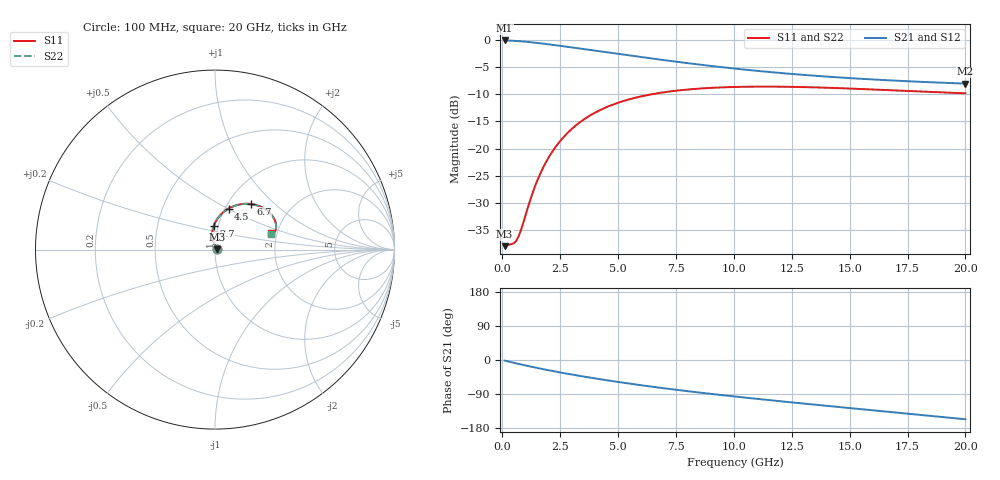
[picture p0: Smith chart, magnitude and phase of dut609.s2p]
! Touchstone file exported from HFSS 2024.1.0
!  File:  C:/UserFiles/LocalFiles/RDL_TSV_Batchsim/temp_RDL_TSV_609_1779798962.aedt
!  Generated:  08:50:09 PM May 26, 2026
!  Design:  RDL_TSV
!  Project:  temp_RDL_TSV_609_1779798962
!  Setup:  Setup1
!  Solution:  Sweep
! Variables:
!  dtsv = 9.98um
!  hbump = 3um
!  htsv = 67.63um
!  ldown = 509.19um
!  lrdl = 158.78um
!  p = 40
!  p1 = 57.86um
!  rhole = 10um
!  subl = 2162.69um
!  t = 450um
!  tdown = 3.62um
!  trdl = 2.95um
!  viad = 10um
!  wdown = 17.82um
!  wrdl = 21.84um
!  xbump = 18um
# GHz S MA R 50.000000
! Terminal data exported
! Port[1] = TM1_1_T1
! Port[2] = TM1_4_T1
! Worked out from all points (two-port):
!   200 points, 100 MHz to 20 GHz, reference 50 ohm
!   highest |S21| = -0.11 dB at 100 MHz (marker M1); lowest = -8.0 dB at 20 GHz (marker M2)
!   |S21| within 3 dB of the highest: start of sweep to 5.913 GHz
!   lowest |S11| = -37.9 dB at 100 MHz (marker M3), VSWR 1.03, Z = 51.3 + j0.207 ohm
!   |S11| at or under -10 dB: start of sweep to 6.452 GHz
!   |S22| runs from -37.9 to -8.6 dB; largest |S21 - S12| = 1.9e-14
!   S11 on the Smith chart (normalised r, x): 100 MHz: 1.03, +0.00; 2.7 GHz: 0.95, +0.25; 4.5 GHz: 1.04, +0.50; 6.7 GHz: 1.27, +0.72; 20 GHz: 1.85, +0.38
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0.1  0.01272 9.1  0.987 -1.5  0.987 -1.5  0.01272 9.1
! Gamma 0 0 0 0
! Port Impedance 50 0 50 0
0.5  0.01354 44.7  0.9794 -7.4  0.9794 -7.4  0.01355 44.6
0.6  0.01421 55.8  0.9765 -8.8  0.9765 -8.8  0.01422 55.7
0.7  0.01555 67.0  0.9732 -10.2  0.9732 -10.2  0.01554 66.9
0.8  0.01769 77.1  0.9696 -11.6  0.9696 -11.6  0.01767 77.0
1.3  0.03867 101.0  0.9474 -18.3  0.9474 -18.3  0.03858 100.9
1.5  0.05021 102.9  0.9371 -20.9  0.9371 -20.9  0.05008 102.8
1.7  0.06277 102.8  0.9263 -23.4  0.9263 -23.4  0.0626 102.8
1.9  0.07602 101.8  0.9151 -25.9  0.9151 -25.9  0.07582 101.7
2.2  0.09664 99.0  0.898 -29.4  0.898 -29.4  0.09638 99.0
2.7  0.1314 93.2  0.8692 -35.1  0.8692 -35.1  0.1311 93.1
3.5  0.1843 83.2  0.8238 -43.6  0.8238 -43.6  0.1838 83.2
4.5  0.2406 71.8  0.7694 -53.3  0.7694 -53.3  0.24 71.7
5.5  0.2848 61.9  0.7185 -62.4  0.7185 -62.4  0.2841 61.8
6.7  0.3229 51.9  0.6631 -72.4  0.6631 -72.4  0.3221 51.9
6.8  0.3255 51.2  0.6588 -73.1  0.6588 -73.1  0.3247 51.1
8.4  0.3551 40.8  0.5962 -85.1  0.5962 -85.1  0.3543 40.7
10.1  0.3692 32.3  0.5426 -96.8  0.5426 -96.8  0.3683 32.2
11.7  0.3715 26.2  0.5027 -107.0  0.5027 -107.0  0.3706 26.1
13.4  0.3663 21.4  0.4694 -117.3  0.4694 -117.3  0.3654 21.2
16.7  0.3446 16.2  0.4246 -136.8  0.4246 -136.8  0.3437 16.1
20  0.3229 16.3  0.3963 -156.4  0.3963 -156.4  0.3221 16.1
